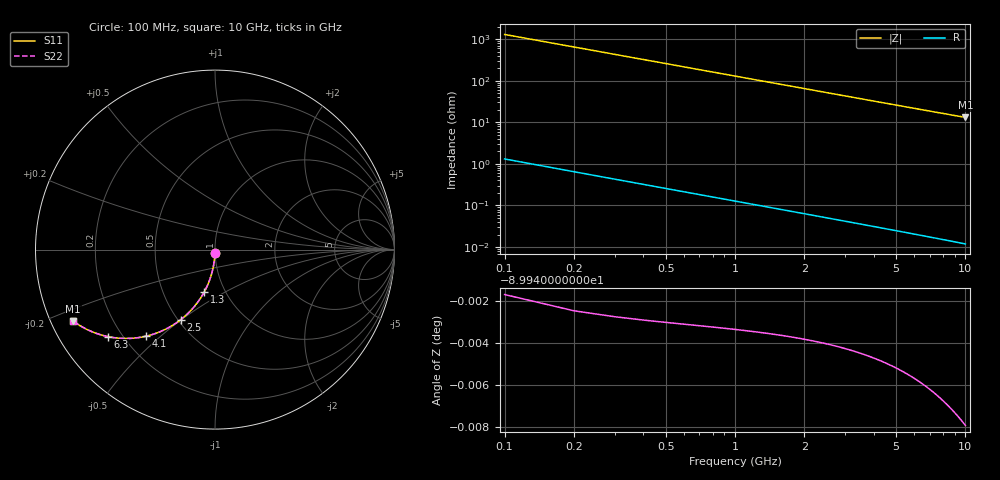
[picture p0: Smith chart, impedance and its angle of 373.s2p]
# Hz S RI R 50.00
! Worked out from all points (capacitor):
!   100 points, 100 MHz to 10 GHz, reference 50 ohm
!   read as one part in shunt: C = 1.23 pF near 100 MHz
!   lowest |Z| = 13.1 ohm at 10 GHz (marker M1)
!   S11 on the Smith chart (normalised r, x): 100 MHz: 1.00, -0.04; 1.3 GHz: 0.80, -0.40; 2.5 GHz: 0.52, -0.50; 4.1 GHz: 0.29, -0.45; 6.3 GHz: 0.15, -0.35; 10 GHz: 0.06, -0.24
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1e8  -0.000346 -0.0193  0.9996 -0.0194  0.9996 -0.0194  -0.000346 -0.0193
2e8  -0.00149 -0.0385  0.9984 -0.0388  0.9984 -0.0388  -0.00149 -0.0385
3e8  -0.00337 -0.0576  0.9965 -0.0581  0.9965 -0.0581  -0.00337 -0.0576
4e8  -0.00599 -0.0766  0.9939 -0.0773  0.9939 -0.0773  -0.00599 -0.0766
5e8  -0.00933 -0.0955  0.9906 -0.0963  0.9906 -0.0963  -0.00933 -0.0955
6e8  -0.0134 -0.1141  0.9865 -0.1151  0.9865 -0.1151  -0.0134 -0.1141
8e8  -0.0235 -0.1505  0.9764 -0.1519  0.9764 -0.1519  -0.0235 -0.1505
1e9  -0.0362 -0.1857  0.9637 -0.1874  0.9637 -0.1874  -0.0362 -0.1857
1.3e9  -0.0597 -0.2355  0.9402 -0.2376  0.9402 -0.2376  -0.0597 -0.2355
1.5e9  -0.0779 -0.2664  0.922 -0.2689  0.922 -0.2689  -0.0779 -0.2664
1.8e9  -0.1085 -0.309  0.8914 -0.312  0.8914 -0.312  -0.1085 -0.309
2.1e9  -0.142 -0.3469  0.8579 -0.3504  0.8579 -0.3504  -0.142 -0.3469
2.5e9  -0.1899 -0.3897  0.81 -0.3939  0.81 -0.3939  -0.1899 -0.3897
2.9e9  -0.2398 -0.4241  0.7601 -0.4289  0.7601 -0.4289  -0.2398 -0.4241
3.4e9  -0.3023 -0.456  0.6976 -0.4616  0.6976 -0.4616  -0.3023 -0.456
4.1e9  -0.3865 -0.483  0.6134 -0.4899  0.6134 -0.4899  -0.3865 -0.483
5.1e9  -0.4935 -0.4952  0.5064 -0.5037  0.5064 -0.5037  -0.4935 -0.4952
6.3e9  -0.5978 -0.4845  0.402 -0.4951  0.402 -0.4951  -0.5978 -0.4845
6.7e9  -0.6271 -0.4774  0.3728 -0.4887  0.3728 -0.4887  -0.6271 -0.4774
7.5e9  -0.6782 -0.4603  0.3217 -0.4729  0.3217 -0.4729  -0.6782 -0.4603
8.4e9  -0.7256 -0.4386  0.2742 -0.4527  0.2742 -0.4527  -0.7256 -0.4386
1e10  -0.7895 -0.3986  0.2102 -0.4155  0.2102 -0.4155  -0.7895 -0.3986
